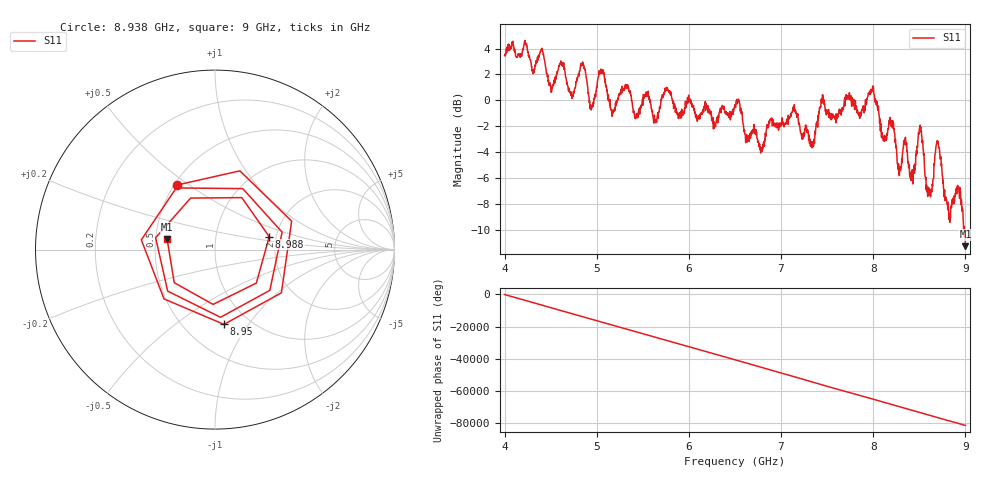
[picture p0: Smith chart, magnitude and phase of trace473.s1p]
! Created with skrf 1.8.0 (http://scikit-rf.org).
# Hz S RI R 50.0
!freq ReS11 ImS11
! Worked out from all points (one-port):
!   1601 points, 4 GHz to 9 GHz, reference 50 ohm
!   lowest |S11| = -11.3 dB at 9 GHz (marker M1), VSWR 1.75, Z = 28.8 + j3.67 ohm
!   |S11| at or under -10 dB: 8.986506 GHz to end of sweep
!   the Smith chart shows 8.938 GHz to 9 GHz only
!   S11 on the Smith chart (normalised r, x): 8.938 GHz: 0.52, +0.45; 8.95 GHz: 0.77, -0.77; 8.988 GHz: 1.84, +0.29; 9 GHz: 0.58, +0.07
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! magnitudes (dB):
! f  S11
! 4 GHz  3.4
! 4.506 GHz  0.6
! 4.625 GHz  2.7
! 4.731 GHz  0.2
! 4.85 GHz  2.8
! 4.941 GHz  -0.7
! 5.047 GHz  2.1
! 5.172 GHz  -0.8
! 5.25 GHz  0.5
! 5.875 GHz  -1.0
! 6.5 GHz  -0.5
! 6.781 GHz  -4.0
! 7.125 GHz  -0.8
! 7.338 GHz  -3.2
! 7.441 GHz  -0.2
! 7.75 GHz  0.2
! 7.988 GHz  0.7
! 8.281 GHz  -5.8
! 8.375 GHz  -4.6
! 8.428 GHz  -5.6
! 8.512 GHz  -2.2
! 8.6 GHz  -7.1
! 8.697 GHz  -3.1
! 8.812 GHz  -7.9
! 8.938 GHz  -7.6
! 8.95 GHz  -7.5
! 8.988 GHz  -10.2
! 9 GHz  -11.3
